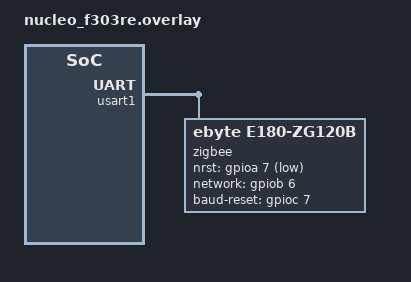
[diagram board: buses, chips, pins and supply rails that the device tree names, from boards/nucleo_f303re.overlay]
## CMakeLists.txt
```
# SPDX-License-Identifier: Apache-2.0

cmake_minimum_required(VERSION 3.20.0)

set(BOARD_ROOT ${CMAKE_CURRENT_LIST_DIR})
set(BOARD f303re)

find_package(Zephyr REQUIRED HINTS $ENV{ZEPHYR_BASE})
project(hello_world)


file(GLOB C_SRC ${CMAKE_CURRENT_SOURCE_DIR}/src/*.c
                ${CMAKE_CURRENT_SOURCE_DIR}/interface/*.c
                ${CMAKE_CURRENT_SOURCE_DIR}/drivers/*.c
                ${CMAKE_CURRENT_SOURCE_DIR}/components/at_client/*.c)

set(C_INC ${CMAKE_CURRENT_SOURCE_DIR}/src
          ${CMAKE_CURRENT_SOURCE_DIR}/interface
          ${CMAKE_CURRENT_SOURCE_DIR}/drivers
          ${CMAKE_CURRENT_SOURCE_DIR}/components/at_client)

target_sources(app PRIVATE ${C_SRC})
target_include_directories(app PRIVATE ${C_INC})
```

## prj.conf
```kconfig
CONFIG_LOG=y
CONFIG_LOG_BUFFER_SIZE=2048
CONFIG_LOG_PRINTK=y
CONFIG_LOG_BACKEND_UART=y
CONFIG_PICOLIBC=y
CONFIG_PICOLIBC_IO_FLOAT=y
CONFIG_PICOLIBC_GLOBAL_ERRNO=y
CONFIG_HEAP_MEM_POOL_SIZE=10240
CONFIG_PICOLIBC_HEAP_SIZE=-1
CONFIG_UART_INTERRUPT_DRIVEN=y
```

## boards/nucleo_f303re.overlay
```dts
/*
 * Copyright (c) 2022-2022, lihongquan
 *
 * SPDX-License-Identifier: Apache-2.0
 *
 * Change Logs:
 * Date           Author       Notes
 * 2023-3-26      lihongquan   port to zephyr
 */

/ {
    chosen {
        zigbee,uart = &usart1;
        zephyr,zigbee = &zigbee;
    };
};

&usart1 {
    zigbee: e180-zg120b {
            compatible = "ebyte,e180-zg120b";

            nrst-gpios = <&gpioa 7 GPIO_ACTIVE_LOW>;
            network-gpios = <&gpiob 6 GPIO_ACTIVE_HIGH>;
            baud-reset-gpios = <&gpioc 7 GPIO_ACTIVE_HIGH>;
            status = "okay";
        };
};
```

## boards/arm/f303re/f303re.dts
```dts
/*
 * Copyright (c) 2020 Paul M. Bendixen
 *
 * SPDX-License-Identifier: Apache-2.0
 */

/dts-v1/;
#include <st/f3/stm32f303Xe.dtsi>
#include <st/f3/stm32f303r(d-e)tx-pinctrl.dtsi>

/ {
	model = "STMicroelectronics STM32F303RE board";
	compatible = "st,stm32f303re";

	chosen {
		zephyr,console = &usart2;
		zephyr,shell-uart = &usart2;
		zephyr,sram = &sram0;
		zephyr,flash = &flash0;
		zephyr,canbus = &can1;
	};

	leds {
		compatible = "gpio-leds";
		green_led_2: led_2 {
			gpios = <&gpioa 5 GPIO_ACTIVE_HIGH>;
			label = "User LD2";
		};
	};

	gpio_keys {
		compatible = "gpio-keys";
		user_button: button {
			label = "User";
			gpios = <&gpioc 13 GPIO_ACTIVE_LOW>;
		};
	};

	aliases {
		led0 = &green_led_2;
		sw0 = &user_button;
	};
};

&clk_hse {
	hse-bypass;
	clock-frequency = <DT_FREQ_M(8)>; /* STLink 8MHz clock */
	status = "okay";
};

&pll {
	prediv = <1>;
	mul = <9>;
	clocks = <&clk_hse>;
	status = "okay";
};

&rcc {
	clocks = <&pll>;
	clock-frequency = <DT_FREQ_M(72)>;
	ahb-prescaler = <1>;
	apb1-prescaler = <2>;
	apb2-prescaler = <1>;
};

&usart2 {
	pinctrl-0 = <&usart2_tx_pa2 &usart2_rx_pa3>;
	pinctrl-names = "default";
	current-speed = <115200>;
	status = "okay";
};

&usart1 {
	pinctrl-0 = <&usart1_tx_pa9 &usart1_rx_pa10>;
	pinctrl-names = "default";
	current-speed = <115200>;
	status = "okay";
};

&can1 {
	pinctrl-0 = <&can_rx_pb8 &can_tx_pb9>;
	pinctrl-names = "default";
	bus-speed = <125000>;
	status = "okay";
};
```

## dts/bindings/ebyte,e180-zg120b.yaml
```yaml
description: ebyte zigbee module

compatible: "ebyte,e180-zg120b"

include: uart-device.yaml

properties:
  nrst-gpios:
    type: phandle-array
    required: true

  network-gpios:
    type: phandle-array
    required: true

  baud-reset-gpios:
    type: phandle-array
    required: true
```

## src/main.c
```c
/*
 * Copyright (c) 2022-2022, lihongquan
 *
 * SPDX-License-Identifier: Apache-2.0
 *
 * Change Logs:
 * Date           Author       Notes
 * 2023-3-26      lihongquan   port to zephyr
 */

#include <zephyr/kernel.h>
#include <zephyr/device.h>
#include <zephyr/drivers/gpio.h>
#include <zephyr/logging/log.h>

#include "at.h"
#include "zigbee_drv.h"

int zigbee_buad_read(at_response_t resp)
{
	int ret = -1;

	at_resp_set_info(resp, 256, 1, 100);

	if (0 == at_exec_cmd(resp, "AT+BAUD?") && (1 == resp->line_counts))
	{
		at_resp_parse_line_args(resp, 1, "BAUD=%d", &ret);
	}

	return ret;
}

void main(void)
{
	com_init(zigbee_uart_drv_get());

	zigbee_gpio_init();
	zigbee_gpio_set(ZIGBEE_NETWOK_PIN, 1);
	zigbee_gpio_set(ZIGBEE_BAUD_RESET_PIN, 0);
	zigbee_gpio_set(ZIGBEE_NRST_PIN, 0);
	k_msleep(2000);
	at_client_init(zigbee_uart_drv_get(), 256);
	at_response_t resp = at_create_resp(256, 0, 1000);

	while (1)
	{
		printk("module's baud:%d\r\n", zigbee_buad_read(resp));
		k_msleep(1000);
	}
}
```
